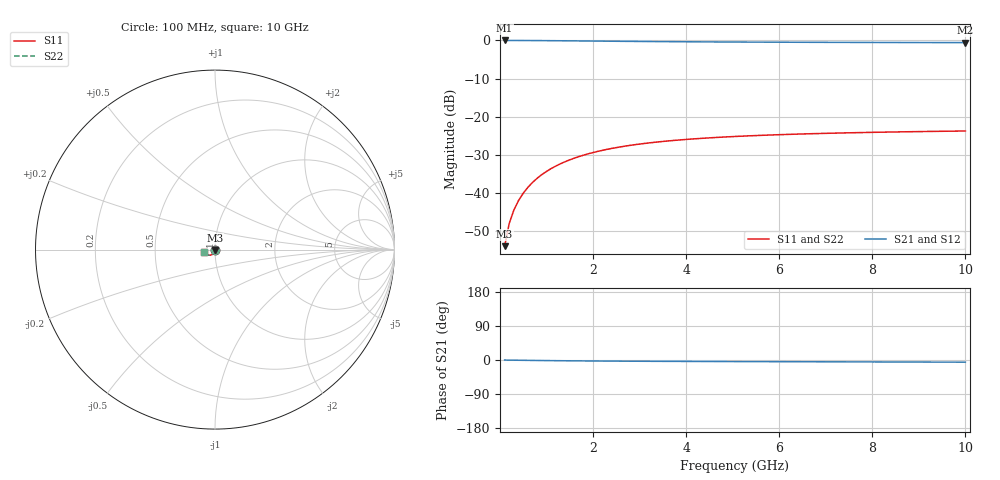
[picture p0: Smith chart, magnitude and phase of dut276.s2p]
! Touchstone file exported from HFSS 2024.1.0
!  File:  C:/UserFiles/LocalFiles/RDL_TSV_Batchsim/temp_TSV1_276_1779392814.aedt
!  Generated:  03:52:32 AM May 22, 2026
!  Design:  TSV1
!  Project:  temp_TSV1_276_1779392814
!  Setup:  Setup1
!  Solution:  Sweep
! Variables:
!  dtsv = 14.36um
!  hbump = 3um
!  htsv = 88.15um
!  lrdl = 252.1521522um
!  p = 40
!  p1 = 54.02um
!  t = 500um
!  trdl = 3um
!  wrdl = 24.89489489um
# GHz S MA R 50.000000
! Terminal data exported
! Port[1] = TSV22_T1
! Port[2] = TSV22_T2
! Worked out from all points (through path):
!   100 points, 100 MHz to 10 GHz, reference 50 ohm
!   highest |S21| = 0.00 dB at 100 MHz (marker M1); lowest = -0.6 dB at 10 GHz (marker M2)
!   lowest |S11| = -54.1 dB at 100 MHz (marker M3), VSWR 1.00, Z = 50 - j0.198 ohm
!   |S11| at or under -10 dB: start of sweep to end of sweep
!   |S22| runs from -54.1 to -23.8 dB; largest |S21 - S12| = 4.7e-15
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0.1  0.001981 -89.4  0.9998 -0.2  0.9998 -0.2  0.001981 -89.4
! Gamma 0 0 0 0
! Port Impedance 50 0 50 0
0.2  0.003961 -92.3  0.9996 -0.3  0.9996 -0.3  0.003961 -92.3
0.3  0.005936 -94.5  0.9993 -0.5  0.9993 -0.5  0.005936 -94.5
0.4  0.007898 -96.5  0.9988 -0.6  0.9988 -0.6  0.007898 -96.5
0.5  0.009839 -98.5  0.9983 -0.8  0.9983 -0.8  0.009839 -98.5
0.6  0.01175 -100.4  0.9976 -1.0  0.9976 -1.0  0.01175 -100.4
0.7  0.01363 -102.3  0.9968 -1.1  0.9968 -1.1  0.01363 -102.3
0.8  0.01547 -104.1  0.996 -1.3  0.996 -1.3  0.01547 -104.1
0.9  0.01726 -105.9  0.995 -1.4  0.995 -1.4  0.01726 -105.9
1.1  0.02071 -109.3  0.993 -1.7  0.993 -1.7  0.02071 -109.3
1.4  0.0255 -114.1  0.9895 -2.0  0.9895 -2.0  0.0255 -114.1
1.6  0.02843 -117.2  0.987 -2.2  0.987 -2.2  0.02843 -117.2
1.8  0.03115 -120.0  0.9845 -2.4  0.9845 -2.4  0.03115 -120.0
2.1  0.03484 -124.0  0.9807 -2.7  0.9807 -2.7  0.03484 -124.0
2.5  0.03909 -128.8  0.9758 -3.0  0.9758 -3.0  0.03909 -128.8
2.9  0.04269 -133.0  0.9712 -3.2  0.9712 -3.2  0.04269 -133.0
3.4  0.04643 -137.6  0.9661 -3.5  0.9661 -3.5  0.04643 -137.6
4.2  0.05107 -143.8  0.9592 -3.8  0.9592 -3.8  0.05107 -143.8
5.1  0.05491 -149.3  0.9532 -4.2  0.9532 -4.2  0.05491 -149.4
6.7  0.05952 -157.0  0.9455 -4.7  0.9455 -4.7  0.05952 -157.0
8.4  0.06263 -163.1  0.9401 -5.2  0.9401 -5.2  0.06263 -163.1
10  0.0646 -167.7  0.9366 -5.7  0.9366 -5.7  0.0646 -167.7
